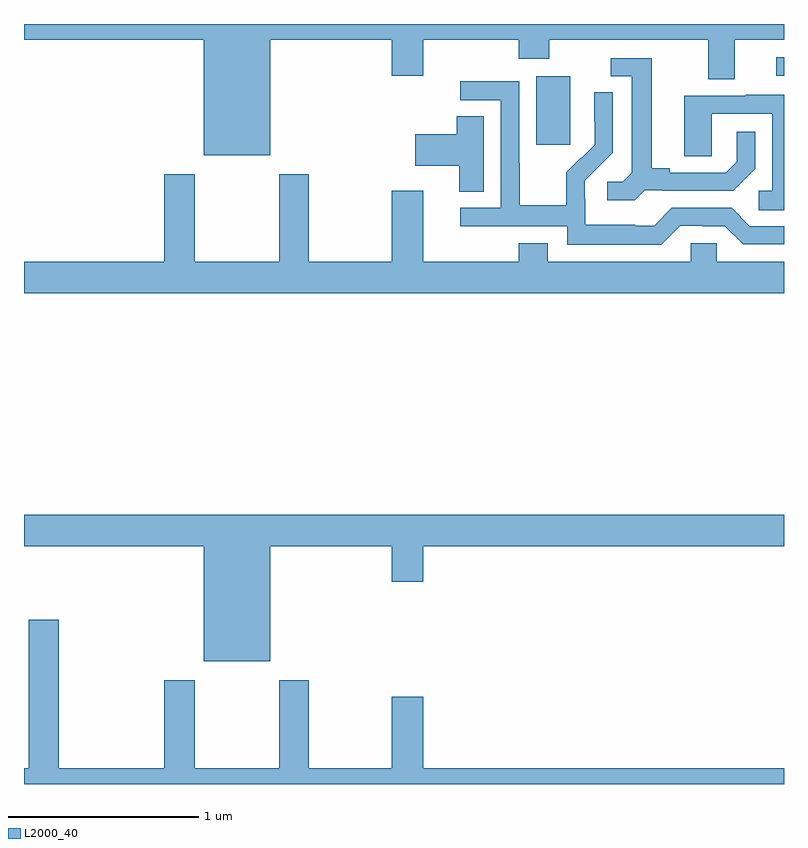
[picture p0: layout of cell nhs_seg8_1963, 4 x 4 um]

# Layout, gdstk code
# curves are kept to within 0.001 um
import gdstk
lib = gdstk.Library(unit=1e-6, precision=1e-09)
def R(c, l, rs):  # rectangles x0, y0, x1, y1
    for r in rs: c.add(gdstk.rectangle(r[:2], r[2:], *l))
def P(c, l, *ps):  # polygons
    for p in ps: c.add(gdstk.Polygon(p, *l))
L2000_40 = (2000, 40)

nhs_seg8_1963 = lib.new_cell('nhs_seg8_1963')
R(nhs_seg8_1963, L2000_40, [(237.695,1133.265,237.874,1133.626), (238.959,1133.628,239,1133.724)])
P(nhs_seg8_1963, L2000_40, [(236.296,1133.816),(236.936,1133.816),(236.936,1133.628),(237.1,1133.628),(237.1,1133.816),(237.605,1133.816),(237.605,1133.717),(237.765,1133.717),(237.765,1133.816),(238.601,1133.816),(238.601,1133.608),(238.741,1133.608),(238.741,1133.816),(239,1133.816),(239,1133.9),(235,1133.9),(235,1133.816),(235.946,1133.816),(235.946,1133.21),(236.296,1133.21)],
  [(238.266,1133.025),(238.36,1133.025),(238.36,1133.022),(238.732,1133.022),(238.848,1133.138),(238.848,1133.332),(238.751,1133.332),(238.751,1133.175),(238.694,1133.118),(238.399,1133.118),(238.399,1133.141),(238.303,1133.141),(238.303,1133.721),(238.089,1133.721),(238.089,1133.625),(238.199,1133.625),(238.199,1133.117),(238.152,1133.07),(238.071,1133.07),(238.071,1132.973),(238.214,1132.973)],
  [(238.455,1132.839),(238.571,1132.839),(238.571,1132.836),(238.689,1132.836),(238.785,1132.74),(239,1132.74),(239,1132.836),(238.821,1132.836),(238.725,1132.932),(238.41,1132.932),(238.317,1132.839),(238.217,1132.839),(238.217,1132.843),(237.954,1132.843),(237.954,1132.977),(237.952,1132.977),(237.952,1133.074),(238.098,1133.222),(238.098,1133.54),(238.002,1133.54),(238.002,1133.386),(238.004,1133.386),(238.004,1133.264),(237.933,1133.193),(237.93,1133.196),(237.853,1133.119),(237.853,1132.945),(237.609,1132.945),(237.609,1133.168),(237.606,1133.168),(237.606,1133.598),(237.297,1133.598),(237.297,1133.499),(237.51,1133.499),(237.51,1132.932),(237.297,1132.932),(237.297,1132.836),(237.858,1132.836),(237.858,1132.739),(238.355,1132.739)],
  [(239,1133.527),(238.799,1133.527),(238.799,1133.523),(238.475,1133.523),(238.475,1133.203),(238.62,1133.203),(238.62,1133.427),(238.938,1133.427),(238.938,1133.022),(238.866,1133.022),(238.866,1132.921),(239,1132.921)],
  [(237.421,1133.414),(237.278,1133.414),(237.278,1133.319),(237.06,1133.319),(237.06,1133.153),(237.29,1133.153),(237.29,1133.017),(237.421,1133.017)],
  [(239,1132.648),(238.647,1132.648),(238.647,1132.746),(238.509,1132.746),(238.509,1132.648),(237.757,1132.648),(237.757,1132.747),(237.605,1132.747),(237.605,1132.648),(237.1,1132.648),(237.1,1133.023),(236.936,1133.023),(236.936,1132.648),(236.499,1132.648),(236.499,1133.11),(236.344,1133.11),(236.344,1132.648),(235.899,1132.648),(235.899,1133.11),(235.739,1133.11),(235.739,1132.648),(235,1132.648),(235,1132.484),(239,1132.484)],
  [(236.296,1131.152),(236.936,1131.152),(236.936,1130.964),(237.1,1130.964),(237.1,1131.152),(239,1131.152),(239,1131.316),(235,1131.316),(235,1131.152),(235.946,1131.152),(235.946,1130.546),(236.296,1130.546)],
  [(239,1129.984),(237.1,1129.984),(237.1,1130.359),(236.936,1130.359),(236.936,1129.984),(236.499,1129.984),(236.499,1130.446),(236.344,1130.446),(236.344,1129.984),(235.899,1129.984),(235.899,1130.446),(235.739,1130.446),(235.739,1129.984),(235.184,1129.984),(235.184,1130.764),(235.024,1130.764),(235.024,1129.984),(235,1129.984),(235,1129.9),(239,1129.9)])

lib.write_gds('nhs_seg8_1963.gds')
